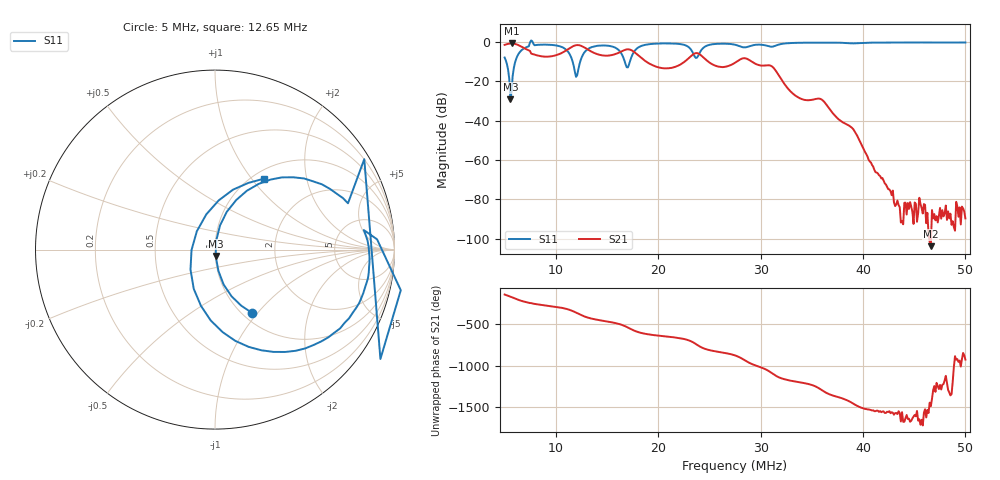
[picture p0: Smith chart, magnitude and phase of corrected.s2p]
! S11/S21 only; reverse parameters are placeholders. Device calibration unverified.
! [Saver CAL applied] C:\Users\aknya\MyProjects\rf-simulator\calibration2.cal | Ideal standards assumed | Input: NanoVNA F V2 profile | COM3 | 2026-09-08T12:34:23.0744745-04:00 | device calibration unverified
# HZ S RI R 50
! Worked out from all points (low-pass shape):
!   401 points, 5 MHz to 50 MHz, reference 50 ohm
!   highest |S21| = -0.66 dB at 5.675 MHz (marker M1); lowest = -103.9 dB at 46.62 MHz (marker M2)
!   |S21| within 3 dB of the highest: start of sweep to 7.149 MHz; 11.19 MHz to 13.1 MHz (1.909 MHz wide, 15.7 % of centre)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
!   lowest |S11| = -29.1 dB at 5.562 MHz (marker M3), VSWR 1.07, Z = 50.2 - j3.5 ohm
!   |S11| at or under -10 dB: 5.157 MHz to 6.04 MHz (882.9 kHz wide, 15.8 % of centre); 11.65 MHz to 12.38 MHz (732.5 kHz wide, 6.1 % of centre); 16.74 MHz to 17.23 MHz (491 kHz wide, 2.89 % of centre)
!   S12 and S22 are empty: the file has one direction only
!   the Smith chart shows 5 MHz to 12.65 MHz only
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5000000  0.2046 -0.3516  -0.7136 -0.4659  0 0  0 0
5562500  0.0036 -0.0348  -0.9166 -0.1235  0 0  0 0
5675000  0.00717 0.0518  -0.9267 -0.032  0 0  0 0
6575000  0.4368 0.4027  -0.6002 0.5038  0 0  0 0
7700000  1.035 -0.2263  -0.1451 0.4779  0 0  0 0
1.09625e7  0.3259 -0.57  0.4363 0.4157  0 0  0 0
1.1975e7  -0.1309 -0.00299  0.835 -0.0471  0 0  0 0
1.25375e7  0.1857 0.3715  0.6375 -0.4699  0 0  0 0
1.4675e7  0.8054 -0.1754  -0.1019 -0.4445  0 0  0 0
1.61375e7  0.3022 -0.5534  -0.4003 -0.3569  0 0  0 0
1.6925e7  -0.22 -0.0676  -0.6512 -0.0574  0 0  0 0
1.7825e7  0.3572 0.5474  -0.3502 0.3813  0 0  0 0
2.0075e7  0.9243 0.00385  0.0386 0.2226  0 0  0 0
2.35625e7  0.3598 -0.2365  0.5061 -0.094  0 0  0 0
2.75e7  0.7269 -0.4578  -0.2727 -0.1219  0 0  0 0
2.89625e7  0.7186 -0.3419  -0.1229 0.3192  0 0  0 0
3.0875e7  0.6435 -0.4358  0.2526 0.0465  0 0  0 0
3.50375e7  0.6993 -0.6705  -0.03 -0.0161  0 0  0 0
3.8975e7  0.5338 -0.7643  0.00634 -0.000908  0 0  0 0
4.2575e7  0.4437 -0.869  -4.46e-05 -0.000172  0 0  0 0
4.6625e7  0.2834 -0.9376  4.5e-06 -4.53e-06  0 0  0 0
5e7  0.1598 -0.9666  -2.91e-05 1.45e-05  0 0  0 0
